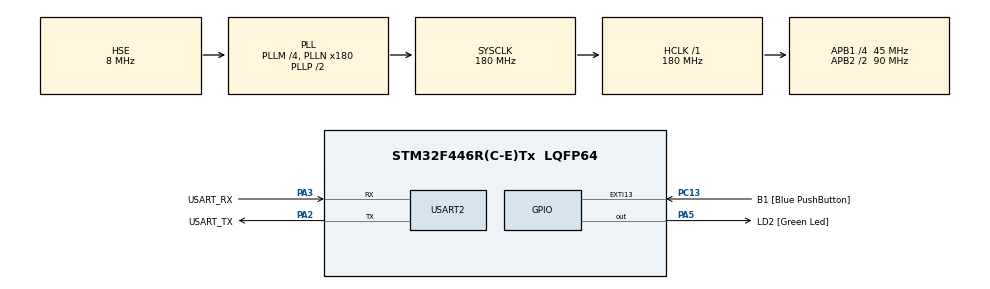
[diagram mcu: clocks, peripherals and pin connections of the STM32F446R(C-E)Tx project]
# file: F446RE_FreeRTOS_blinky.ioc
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FREERTOS.Mutexes01=myMutex01,Dynamic,NULL
FREERTOS.Tasks01=blink01,0,1024,StartBlink01,Default,NULL,Dynamic,NULL,NULL;blink02,0,1024,StartBlink02,Default,NULL,Dynamic,NULL,NULL;readButton03,-1,1024,StartReadButton03,Default,NULL,Dynamic,NULL,NULL
FREERTOS.Timers01=periodicTimer,PTCallback,osTimerPeriodic,Default,NULL,Dynamic,NULL;onceTimer,OTCallback,osTimerOnce,Default,NULL,Dynamic,NULL
FREERTOS.configTIMER_TASK_PRIORITY=6
FREERTOS.configUSE_TIMERS=1
Mcu.Family=STM32F4
Mcu.Name=STM32F446R(C-E)Tx
Mcu.Package=LQFP64
NVIC.PriorityGroup=NVIC_PRIORITYGROUP_4
NVIC.TIM6_DAC_IRQn=true\:0\:0\:false\:false\:true\:false\:false\:true
NVIC.TimeBase=TIM6_DAC_IRQn
NVIC.TimeBaseIP=TIM6
PA13.GPIO_Label=TMS
PA13.Mode=Serial_Wire
PA13.Signal=SYS_JTMS-SWDIO
PA14.GPIO_Label=TCK
PA14.Mode=Serial_Wire
PA14.Signal=SYS_JTCK-SWCLK
PA2.GPIO_Label=USART_TX
PA2.Mode=Asynchronous
PA2.Signal=USART2_TX
PA3.GPIO_Label=USART_RX
PA3.Mode=Asynchronous
PA3.Signal=USART2_RX
PA5.GPIO_Label=LD2 [Green Led]
PA5.Signal=GPIO_Output
PB3.GPIO_Label=SWO
PB3.Signal=SYS_JTDO-SWO
PC13.GPIO_Label=B1 [Blue PushButton]
PC13.GPIO_ModeDefaultEXTI=GPIO_MODE_IT_FALLING
PC13.Signal=GPXTI13
PC14-OSC32_IN.Signal=RCC_OSC32_IN
PC15-OSC32_OUT.Signal=RCC_OSC32_OUT
PH0-OSC_IN.Mode=HSE-External-Oscillator
PH0-OSC_IN.Signal=RCC_OSC_IN
PH1-OSC_OUT.Mode=HSE-External-Oscillator
PH1-OSC_OUT.Signal=RCC_OSC_OUT
ProjectManager.HeapSize=0x200
ProjectManager.StackSize=0x400
ProjectManager.TargetToolchain=STM32CubeIDE
RCC.48MHZClocksFreq_Value=84000000
RCC.AHBFreq_Value=180000000
RCC.APB1CLKDivider=RCC_HCLK_DIV4
RCC.APB1Freq_Value=45000000
RCC.APB1TimFreq_Value=90000000
RCC.APB2CLKDivider=RCC_HCLK_DIV2
RCC.APB2Freq_Value=90000000
RCC.APB2TimFreq_Value=180000000
RCC.CortexFreq_Value=180000000
RCC.FLatency-AdvancedSettings=FLASH_LATENCY_5
RCC.HCLKFreq_Value=180000000
RCC.HSE_VALUE=8000000
RCC.HSI_VALUE=16000000
RCC.PLLM=4
RCC.PLLN=180
RCC.PLLSourceVirtual=RCC_PLLSOURCE_HSE
RCC.SYSCLKFreq_VALUE=180000000
RCC.SYSCLKSource=RCC_SYSCLKSOURCE_PLLCLK
RCC.USBFreq_Value=180000000
RCC.VCOOutputFreq_Value=360000000
USART2.VirtualMode=VM_ASYNC
VP_FREERTOS_VS_CMSIS_V1.Mode=CMSIS_V1
VP_SYS_VS_tim6.Mode=TIM6
board=NUCLEO-F446RE

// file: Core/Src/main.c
/* USER CODE BEGIN Header */
/**
  ******************************************************************************
  * @file           : main.c
  * @brief          : Main program body
  ******************************************************************************
  * @attention
  *
  * <h2><center>&copy; Copyright (c) 2021 STMicroelectronics.
  * All rights reserved.</center></h2>
  *
  * This software component is licensed by ST under BSD 3-Clause license,
  * the "License"; You may not use this file except in compliance with the
  * License. You may obtain a copy of the License at:
  *                        opensource.org/licenses/BSD-3-Clause
  *
  ******************************************************************************
  */
/* USER CODE END Header */
#include "main.h"
#include "cmsis_os.h"

/* USER CODE BEGIN Includes */
#include <stdio.h>
#include <string.h>
/* USER CODE END Includes */

UART_HandleTypeDef huart2;

osThreadId blink01Handle;
osThreadId blink02Handle;
osThreadId readButton03Handle;
osTimerId periodicTimerHandle;
osTimerId onceTimerHandle;
osMutexId myMutex01Handle;
/* USER CODE BEGIN PV */

static uint32_t Led_Delay = 250;
static uint32_t Delay_Multiplier = 4;

/* USER CODE END PV */

void SystemClock_Config(void);
static void MX_GPIO_Init(void);
static void MX_USART2_UART_Init(void);
void StartBlink01(void const * argument);
void StartBlink02(void const * argument);
void StartReadButton03(void const * argument);
void PTCallback(void const * argument);
void OTCallback(void const * argument);

/* USER CODE BEGIN 0 */
int _write(int file, char *ptr, int len)
{
	HAL_UART_Transmit(&huart2,(uint8_t *)ptr,len,10);
	return len;
}
/* USER CODE END 0 */

int main(void)
{

  /* MCU Configuration--------------------------------------------------------*/

  /* Reset of all peripherals, Initializes the Flash interface and the Systick. */
  HAL_Init();

  /* Configure the system clock */
  SystemClock_Config();

  /* Initialize all configured peripherals */
  MX_GPIO_Init();
  MX_USART2_UART_Init();
  /* USER CODE BEGIN 2 */

  char *str0 = "\r\n\r\nInit Done\r\n";
  printf(str0);

  /* USER CODE END 2 */

  /* Create the mutex(es) */
  /* definition and creation of myMutex01 */
  osMutexDef(myMutex01);
  myMutex01Handle = osMutexCreate(osMutex(myMutex01));

  /* Create the timer(s) */
  /* definition and creation of periodicTimer */
  osTimerDef(periodicTimer, PTCallback);
  periodicTimerHandle = osTimerCreate(osTimer(periodicTimer), osTimerPeriodic, NULL);

  /* definition and creation of onceTimer */
  osTimerDef(onceTimer, OTCallback);
  onceTimerHandle = osTimerCreate(osTimer(onceTimer), osTimerOnce, NULL);

  /* Create the thread(s) */
  /* definition and creation of blink01 */
  osThreadDef(blink01, StartBlink01, osPriorityNormal, 0, 1024);
  blink01Handle = osThreadCreate(osThread(blink01), NULL);

  /* definition and creation of blink02 */
  osThreadDef(blink02, StartBlink02, osPriorityNormal, 0, 1024);
  blink02Handle = osThreadCreate(osThread(blink02), NULL);

  /* definition and creation of readButton03 */
  osThreadDef(readButton03, StartReadButton03, osPriorityBelowNormal, 0, 1024);
  readButton03Handle = osThreadCreate(osThread(readButton03), NULL);

  /* Start scheduler */
  osKernelStart();

  /* We should never get here as control is now taken by the scheduler */
  /* Infinite loop */
  while (1)
  {

  }
}

void SystemClock_Config(void)
{
  RCC_OscInitTypeDef RCC_OscInitStruct = {0};
  RCC_ClkInitTypeDef RCC_ClkInitStruct = {0};

  /** Configure the main internal regulator output voltage
  */
  __HAL_RCC_PWR_CLK_ENABLE();
  __HAL_PWR_VOLTAGESCALING_CONFIG(PWR_REGULATOR_VOLTAGE_SCALE1);
  /** Initializes the RCC Oscillators according to the specified parameters
  * in the RCC_OscInitTypeDef structure.
  */
  RCC_OscInitStruct.OscillatorType = RCC_OSCILLATORTYPE_HSE;
  RCC_OscInitStruct.HSEState = RCC_HSE_ON;
  RCC_OscInitStruct.PLL.PLLState = RCC_PLL_ON;
  RCC_OscInitStruct.PLL.PLLSource = RCC_PLLSOURCE_HSE;
  RCC_OscInitStruct.PLL.PLLM = 4;
  RCC_OscInitStruct.PLL.PLLN = 180;
  RCC_OscInitStruct.PLL.PLLP = RCC_PLLP_DIV2;
  RCC_OscInitStruct.PLL.PLLQ = 2;
  RCC_OscInitStruct.PLL.PLLR = 2;
  if (HAL_RCC_OscConfig(&RCC_OscInitStruct) != HAL_OK)
  {
    Error_Handler();
  }
  /** Activate the Over-Drive mode
  */
  if (HAL_PWREx_EnableOverDrive() != HAL_OK)
  {
    Error_Handler();
  }
  /** Initializes the CPU, AHB and APB buses clocks
  */
  RCC_ClkInitStruct.ClockType = RCC_CLOCKTYPE_HCLK|RCC_CLOCKTYPE_SYSCLK
                              |RCC_CLOCKTYPE_PCLK1|RCC_CLOCKTYPE_PCLK2;
  RCC_ClkInitStruct.SYSCLKSource = RCC_SYSCLKSOURCE_PLLCLK;
  RCC_ClkInitStruct.AHBCLKDivider = RCC_SYSCLK_DIV1;
  RCC_ClkInitStruct.APB1CLKDivider = RCC_HCLK_DIV4;
  RCC_ClkInitStruct.APB2CLKDivider = RCC_HCLK_DIV2;

  if (HAL_RCC_ClockConfig(&RCC_ClkInitStruct, FLASH_LATENCY_5) != HAL_OK)
  {
    Error_Handler();
  }
}

static void MX_USART2_UART_Init(void)
{

  huart2.Instance = USART2;
  huart2.Init.BaudRate = 115200;
  huart2.Init.WordLength = UART_WORDLENGTH_8B;
  huart2.Init.StopBits = UART_STOPBITS_1;
  huart2.Init.Parity = UART_PARITY_NONE;
  huart2.Init.Mode = UART_MODE_TX_RX;
  huart2.Init.HwFlowCtl = UART_HWCONTROL_NONE;
  huart2.Init.OverSampling = UART_OVERSAMPLING_16;
  if (HAL_UART_Init(&huart2) != HAL_OK)
  {
    Error_Handler();
  }

}

static void MX_GPIO_Init(void)
{
  GPIO_InitTypeDef GPIO_InitStruct = {0};

  /* GPIO Ports Clock Enable */
  __HAL_RCC_GPIOC_CLK_ENABLE();
  __HAL_RCC_GPIOH_CLK_ENABLE();
  __HAL_RCC_GPIOA_CLK_ENABLE();
  __HAL_RCC_GPIOB_CLK_ENABLE();

  /*Configure GPIO pin Output Level */
  HAL_GPIO_WritePin(LD2_GPIO_Port, LD2_Pin, GPIO_PIN_RESET);

  /*Configure GPIO pin : B1_Pin */
  GPIO_InitStruct.Pin = B1_Pin;
  GPIO_InitStruct.Mode = GPIO_MODE_IT_FALLING;
  GPIO_InitStruct.Pull = GPIO_NOPULL;
  HAL_GPIO_Init(B1_GPIO_Port, &GPIO_InitStruct);

  /*Configure GPIO pin : LD2_Pin */
  GPIO_InitStruct.Pin = LD2_Pin;
  GPIO_InitStruct.Mode = GPIO_MODE_OUTPUT_PP;
  GPIO_InitStruct.Pull = GPIO_NOPULL;
  GPIO_InitStruct.Speed = GPIO_SPEED_FREQ_LOW;
  HAL_GPIO_Init(LD2_GPIO_Port, &GPIO_InitStruct);

}

void StartBlink01(void const * argument)
{
  /* USER CODE BEGIN 5 */
	/* Infinite loop */
	//osTimerStart(periodicTimerHandle, 5000U);
	for(;;)
	{
		HAL_GPIO_TogglePin(GPIOA, LD2_Pin);
		osDelay(Led_Delay * Delay_Multiplier);
	}
	// In case we accidentally exit from task loop
	osThreadTerminate(NULL);
  /* USER CODE END 5 */
}

void StartBlink02(void const * argument)
{
  /* USER CODE BEGIN StartBlink02 */
	//void *char1, *char2, *char3, *char4;
	/* Infinite loop */
	for(;;)
	{
		if (1)
		{
			if (osMutexWait(myMutex01Handle, 10U) == osOK)
			{
				char *str1 = "Bl02> Mutex taken\r\n";
				printf(str1);
				if (Delay_Multiplier != 4)
				{
					Delay_Multiplier = 4;
					char *str2 = "Bl02> Multiplier set to 4\r\n";
					printf(str2);
				}
				osDelay(5000);
				osMutexRelease(myMutex01Handle);
				char *str3 = "Bl02> Mutex released\r\n";
				printf(str3);
			}
			else
			{
				char *str4 = "Bl02> !! Mutex NOT taken\r\n";
				printf(str4);
				osDelay(5000);
			}
			osDelay(5000);
		}
		else
		{
			osDelay(0);
		}
	}
  // In case we accidentally exit from task loop
  osThreadTerminate(NULL);
  /* USER CODE END StartBlink02 */
}

void StartReadButton03(void const * argument)
{
  /* USER CODE BEGIN StartReadButton03 */
	/* Infinite loop */
	osTimerStop(onceTimerHandle);
	for(;;)
	{
		if(HAL_GPIO_ReadPin(B1_GPIO_Port, B1_Pin))
		{
			osDelay(0);
		}
		else
		{
			// Button pushed
			if (Delay_Multiplier != 1)
			{
				if (osMutexWait(myMutex01Handle, 10U) == osOK)
				{
					char *str03_1 = ">Bt03>>> Mutex taken\r\n";
					printf(str03_1);
					osTimerStop(onceTimerHandle);
					//osTimerStart(onceTimerHandle, 5000U);
					//char *str03_2 = ">Bt03> One Shot Timer started\r\n";
					//printf(str03_2);
					Delay_Multiplier = 1;
					char *str03_3 = ">Bt03>>> Multiplier set to 1\r\n";
					printf(str03_3);
					osMutexRelease(myMutex01Handle);
					char *str03_4 = ">Bt03>>> Mutex released\r\n";
					printf(str03_4);
				}
				else
				{
					char *str03_5 = ">Bt03>>> !! Mutex NOT taken\r\n";
					printf(str03_5);
				}
			}
			osDelay(10);

		}
		osDelay(1);
	}
  /* USER CODE END StartReadButton03 */
}

/* PTCallback function */
void PTCallback(void const * argument)
{
  /* USER CODE BEGIN PTCallback */
	//HAL_UART_Transmit(&huart2, "Sending from PERIODIC TIMER\r\n", 29, 10);
  /* USER CODE END PTCallback */
}

/* OTCallback function */
void OTCallback(void const * argument)
{
  /* USER CODE BEGIN OTCallback */
	Delay_Multiplier = 4;
	char *str3 = ">>>> Multiplier set to 4\r\n";
	printf(str3);
  /* USER CODE END OTCallback */
}

 /**
  * @brief  Period elapsed callback in non blocking mode
  * @note   This function is called  when TIM6 interrupt took place, inside
  * HAL_TIM_IRQHandler(). It makes a direct call to HAL_IncTick() to increment
  * a global variable "uwTick" used as application time base.
  * @param  htim : TIM handle
  * @retval None
  */
void HAL_TIM_PeriodElapsedCallback(TIM_HandleTypeDef *htim)
{
  if (htim->Instance == TIM6) {
    HAL_IncTick();
  }
}

void Error_Handler(void)
{
  __disable_irq();
  while (1)
  {
  }
}

/************************ (C) COPYRIGHT STMicroelectronics *****END OF FILE****/
